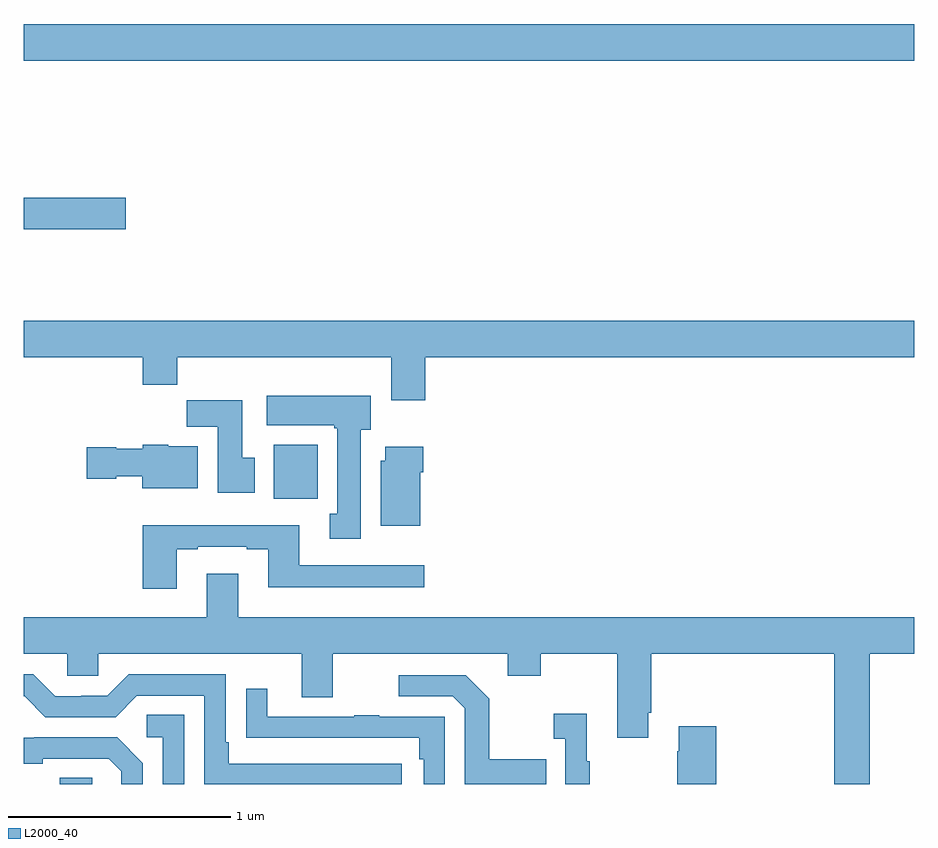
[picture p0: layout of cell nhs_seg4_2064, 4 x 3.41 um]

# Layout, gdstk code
import gdstk
lib = gdstk.Library(unit=1e-6, precision=1e-09)
def R(c, l, rs):  # rectangles x0, y0, x1, y1
    for r in rs: c.add(gdstk.rectangle(r[:2], r[2:], *l))
def P(c, l, *ps):  # polygons
    for p in ps: c.add(gdstk.Polygon(p, *l))
L2000_40 = (2000, 40)

nhs_seg4_2064 = lib.new_cell('nhs_seg4_2064')
R(nhs_seg4_2064, L2000_40, [(217.163,798.9,217.308,798.929), (218.123,800.18,218.32,800.422), (217,801.391,217.459,801.533), (217,802.148,221,802.312)])
P(nhs_seg4_2064, L2000_40, [(218.804,800.816),(221,800.816),(221,800.98),(217,800.98),(217,800.816),(217.535,800.816),(217.535,800.692),(217.691,800.692),(217.691,800.816),(218.651,800.816),(218.651,800.622),(218.804,800.622)],
  [(218.515,800.49),(218.56,800.49),(218.56,800.644),(218.091,800.644),(218.091,800.51),(218.395,800.51),(218.395,800.497),(218.408,800.497),(218.408,800.114),(218.375,800.114),(218.375,800.001),(218.515,800.001)],
  [(218.038,800.364),(217.981,800.364),(217.981,800.623),(217.732,800.623),(217.732,800.504),(217.871,800.504),(217.871,800.208),(218.038,800.208)],
  [(217.783,800.416),(217.65,800.416),(217.65,800.422),(217.536,800.422),(217.536,800.404),(217.416,800.404),(217.416,800.412),(217.284,800.412),(217.284,800.27),(217.416,800.27),(217.416,800.282),(217.532,800.282),(217.532,800.228),(217.783,800.228)],
  [(218.782,800.3),(218.795,800.3),(218.795,800.413),(218.624,800.413),(218.624,800.352),(218.603,800.352),(218.603,800.06),(218.782,800.06)],
  [(217.687,799.953),(217.783,799.953),(217.783,799.965),(218.003,799.965),(218.003,799.953),(218.099,799.953),(218.099,799.784),(218.8,799.784),(218.8,799.881),(218.239,799.881),(218.239,800.062),(217.535,800.062),(217.535,799.776),(217.687,799.776)],
  [(220.8,799.484),(221,799.484),(221,799.648),(217.963,799.648),(217.963,799.843),(217.823,799.843),(217.823,799.648),(217,799.648),(217,799.484),(217.197,799.484),(217.197,799.386),(217.335,799.386),(217.335,799.484),(218.249,799.484),(218.249,799.29),(218.389,799.29),(218.389,799.484),(219.173,799.484),(219.173,799.385),(219.321,799.385),(219.321,799.484),(219.665,799.484),(219.665,799.107),(219.805,799.107),(219.805,799.219),(219.818,799.219),(219.818,799.484),(220.64,799.484),(220.64,798.9),(220.8,798.9)],
  [(218.698,798.99),(217.921,798.99),(217.921,799.087),(217.908,799.087),(217.908,799.392),(217.473,799.392),(217.377,799.296),(217.259,799.296),(217.259,799.293),(217.143,799.293),(217.043,799.393),(217,799.393),(217,799.293),(217.005,799.293),(217.098,799.2),(217.413,799.2),(217.509,799.296),(217.812,799.296),(217.812,798.9),(218.698,798.9)],
  [(219.347,799.011),(219.091,799.011),(219.091,799.283),(218.985,799.389),(218.685,799.389),(218.685,799.293),(218.928,799.293),(218.982,799.239),(218.982,798.9),(219.347,798.9)],
  [(218.892,799.203),(218.597,799.203),(218.597,799.208),(218.485,799.208),(218.485,799.203),(218.095,799.203),(218.095,799.327),(217.999,799.327),(217.999,799.108),(218.101,799.108),(218.101,799.107),(218.776,799.107),(218.776,799.01),(218.796,799.01),(218.796,798.9),(218.892,798.9)],
  [(219.541,799.003),(219.529,799.003),(219.529,799.216),(219.381,799.216),(219.381,799.103),(219.432,799.103),(219.432,798.9),(219.541,798.9)],
  [(217.722,799.211),(217.554,799.211),(217.554,799.11),(217.626,799.11),(217.626,798.9),(217.722,798.9)],
  [(220.109,799.159),(219.941,799.159),(219.941,799.046),(219.934,799.046),(219.934,798.9),(220.109,798.9)],
  [(217.536,798.994),(217.42,799.11),(217.048,799.11),(217.048,799.107),(217,799.107),(217,798.992),(217.087,798.992),(217.087,799.014),(217.382,799.014),(217.439,798.957),(217.439,798.9),(217.536,798.9)])

lib.write_gds('nhs_seg4_2064.gds')
